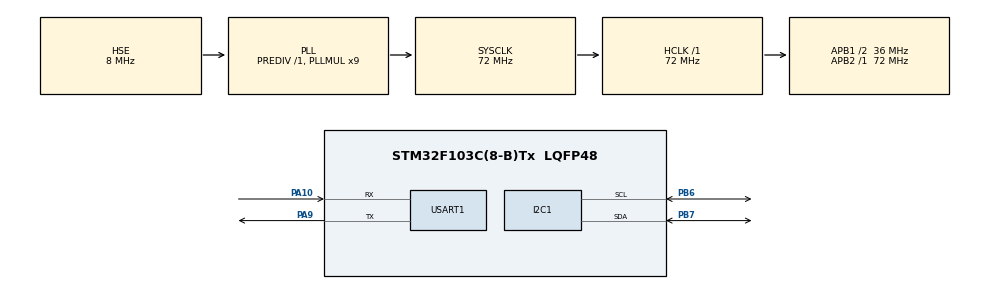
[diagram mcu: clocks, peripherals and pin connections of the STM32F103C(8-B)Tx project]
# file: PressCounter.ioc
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Mcu.Family=STM32F1
Mcu.Name=STM32F103C(8-B)Tx
Mcu.Package=LQFP48
NVIC.PriorityGroup=NVIC_PRIORITYGROUP_4
PA10.Mode=Asynchronous
PA10.Signal=USART1_RX
PA13.Mode=Serial_Wire
PA13.Signal=SYS_JTMS-SWDIO
PA14.Mode=Serial_Wire
PA14.Signal=SYS_JTCK-SWCLK
PA9.Mode=Asynchronous
PA9.Signal=USART1_TX
PB6.Mode=I2C
PB6.Signal=I2C1_SCL
PB7.Mode=I2C
PB7.Signal=I2C1_SDA
PD0-OSC_IN.Mode=HSE-External-Oscillator
PD0-OSC_IN.Signal=RCC_OSC_IN
PD1-OSC_OUT.Mode=HSE-External-Oscillator
PD1-OSC_OUT.Signal=RCC_OSC_OUT
ProjectManager.HeapSize=0x200
ProjectManager.StackSize=0x400
ProjectManager.TargetToolchain=MDK-ARM V5
RCC.AHBFreq_Value=72000000
RCC.APB1CLKDivider=RCC_HCLK_DIV2
RCC.APB1Freq_Value=36000000
RCC.APB1TimFreq_Value=72000000
RCC.APB2Freq_Value=72000000
RCC.APB2TimFreq_Value=72000000
RCC.HCLKFreq_Value=72000000
RCC.PLLMUL=RCC_PLL_MUL9
RCC.PLLSourceVirtual=RCC_PLLSOURCE_HSE
RCC.SYSCLKFreq_VALUE=72000000
RCC.SYSCLKSource=RCC_SYSCLKSOURCE_PLLCLK
RCC.USBFreq_Value=72000000
USART1.VirtualMode=VM_ASYNC
board=custom

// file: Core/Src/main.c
/* USER CODE BEGIN Header */
/**
  ******************************************************************************
  * @file           : main.c
  * @brief          : Main program body
  ******************************************************************************
  * @attention
  *
  * Copyright (c) 2022 STMicroelectronics.
  * All rights reserved.
  *
  * This software is licensed under terms that can be found in the LICENSE file
  * in the root directory of this software component.
  * If no LICENSE file comes with this software, it is provided AS-IS.
  *
  ******************************************************************************
  */
/* USER CODE END Header */
#include "main.h"

/* USER CODE BEGIN Includes */
#include "TJ_MPU6050.h"
#include <stdio.h>
/* USER CODE END Includes */

 I2C_HandleTypeDef hi2c1;

UART_HandleTypeDef huart1;

void SystemClock_Config(void);
static void MX_GPIO_Init(void);
static void MX_I2C1_Init(void);
static void MX_USART1_UART_Init(void);

/* USER CODE BEGIN 0 */
RawData_Def myAccelRaw, myGyroRaw;
ScaledData_Def myAccelScaled, myGyroScaled;
ScaledData_Def myAccelCali;
/* USER CODE END 0 */

int main(void)
{
  /* USER CODE BEGIN 1 */
	MPU_ConfigTypeDef myMpuConfig;
  /* USER CODE END 1 */

  /* MCU Configuration--------------------------------------------------------*/

  /* Reset of all peripherals, Initializes the Flash interface and the Systick. */
  HAL_Init();

  /* Configure the system clock */
  SystemClock_Config();

  /* Initialize all configured peripherals */
  MX_GPIO_Init();
  MX_I2C1_Init();
  MX_USART1_UART_Init();
  /* USER CODE BEGIN 2 */
	MPU6050_Init(&hi2c1);
	//2. Configure Accel and Gyro parameters
	myMpuConfig.Accel_Full_Scale = AFS_SEL_4g;
	myMpuConfig.ClockSource = Internal_8MHz;
	myMpuConfig.CONFIG_DLPF = DLPF_5_Hz;
	myMpuConfig.Gyro_Full_Scale = FS_SEL_500;
	myMpuConfig.Sleep_Mode_Bit = 0;  //1: sleep mode, 0: normal mode
	MPU6050_Config(&myMpuConfig);
  /* USER CODE END 2 */

  /* Infinite loop */
  /* USER CODE BEGIN WHILE */
	int count = 0;
	int avg = 0;
	int pressCount = 0;
	int halfPress = 0;
	int threshold = 13000;
  while (1)
  {
		MPU6050_Get_Accel_Scale(&myAccelScaled);
		MPU6050_Get_Gyro_Scale(&myGyroScaled);
		MPU6050_Get_Gyro_RawData(&myGyroRaw);
		MPU6050_Get_Accel_RawData(&myAccelRaw);
		MPU6050_Get_Accel_Cali(&myAccelCali);

		if(count < 10){
			avg += myAccelRaw.z;
			count++;
		}
		else{
			avg = avg/count;

			if(avg > threshold){
				halfPress++;
			}
			if(halfPress == 2){
				pressCount++;

				char temp[10];
				int c= snprintf(temp, sizeof(temp),"%d\n", pressCount);
				HAL_UART_Transmit(&huart1,(uint8_t *)temp,sizeof(temp),HAL_MAX_DELAY);
				halfPress = 0;
			}

			avg = 0;
			count = 0;
		}

//		char temp[60];
//		int c= snprintf(temp, sizeof(temp),"%d - %d - %d\n", myAccelRaw.x, myAccelRaw.y, myAccelRaw.z);
////		int c= snprintf(temp, sizeof(temp),"%.2f - %.2f - %.2f\n", myGyroScaled.x, myGyroScaled.y, myGyroScaled.z);
//
//		HAL_UART_Transmit(&huart1,(uint8_t *)temp,sizeof(temp),HAL_MAX_DELAY);
//		HAL_Delay(100);

    /* USER CODE END WHILE */

  }
}

void SystemClock_Config(void)
{
  RCC_OscInitTypeDef RCC_OscInitStruct = {0};
  RCC_ClkInitTypeDef RCC_ClkInitStruct = {0};

  /** Initializes the RCC Oscillators according to the specified parameters
  * in the RCC_OscInitTypeDef structure.
  */
  RCC_OscInitStruct.OscillatorType = RCC_OSCILLATORTYPE_HSE;
  RCC_OscInitStruct.HSEState = RCC_HSE_ON;
  RCC_OscInitStruct.HSEPredivValue = RCC_HSE_PREDIV_DIV1;
  RCC_OscInitStruct.HSIState = RCC_HSI_ON;
  RCC_OscInitStruct.PLL.PLLState = RCC_PLL_ON;
  RCC_OscInitStruct.PLL.PLLSource = RCC_PLLSOURCE_HSE;
  RCC_OscInitStruct.PLL.PLLMUL = RCC_PLL_MUL9;
  if (HAL_RCC_OscConfig(&RCC_OscInitStruct) != HAL_OK)
  {
    Error_Handler();
  }

  /** Initializes the CPU, AHB and APB buses clocks
  */
  RCC_ClkInitStruct.ClockType = RCC_CLOCKTYPE_HCLK|RCC_CLOCKTYPE_SYSCLK
                              |RCC_CLOCKTYPE_PCLK1|RCC_CLOCKTYPE_PCLK2;
  RCC_ClkInitStruct.SYSCLKSource = RCC_SYSCLKSOURCE_PLLCLK;
  RCC_ClkInitStruct.AHBCLKDivider = RCC_SYSCLK_DIV1;
  RCC_ClkInitStruct.APB1CLKDivider = RCC_HCLK_DIV2;
  RCC_ClkInitStruct.APB2CLKDivider = RCC_HCLK_DIV1;

  if (HAL_RCC_ClockConfig(&RCC_ClkInitStruct, FLASH_LATENCY_2) != HAL_OK)
  {
    Error_Handler();
  }
}

static void MX_I2C1_Init(void)
{

  hi2c1.Instance = I2C1;
  hi2c1.Init.ClockSpeed = 100000;
  hi2c1.Init.DutyCycle = I2C_DUTYCYCLE_2;
  hi2c1.Init.OwnAddress1 = 0;
  hi2c1.Init.AddressingMode = I2C_ADDRESSINGMODE_7BIT;
  hi2c1.Init.DualAddressMode = I2C_DUALADDRESS_DISABLE;
  hi2c1.Init.OwnAddress2 = 0;
  hi2c1.Init.GeneralCallMode = I2C_GENERALCALL_DISABLE;
  hi2c1.Init.NoStretchMode = I2C_NOSTRETCH_DISABLE;
  if (HAL_I2C_Init(&hi2c1) != HAL_OK)
  {
    Error_Handler();
  }

}

static void MX_USART1_UART_Init(void)
{

  huart1.Instance = USART1;
  huart1.Init.BaudRate = 9600;
  huart1.Init.WordLength = UART_WORDLENGTH_8B;
  huart1.Init.StopBits = UART_STOPBITS_1;
  huart1.Init.Parity = UART_PARITY_NONE;
  huart1.Init.Mode = UART_MODE_TX_RX;
  huart1.Init.HwFlowCtl = UART_HWCONTROL_NONE;
  huart1.Init.OverSampling = UART_OVERSAMPLING_16;
  if (HAL_UART_Init(&huart1) != HAL_OK)
  {
    Error_Handler();
  }

}

static void MX_GPIO_Init(void)
{

  /* GPIO Ports Clock Enable */
  __HAL_RCC_GPIOD_CLK_ENABLE();
  __HAL_RCC_GPIOA_CLK_ENABLE();
  __HAL_RCC_GPIOB_CLK_ENABLE();

}

void Error_Handler(void)
{
  __disable_irq();
  while (1)
  {
  }
}
